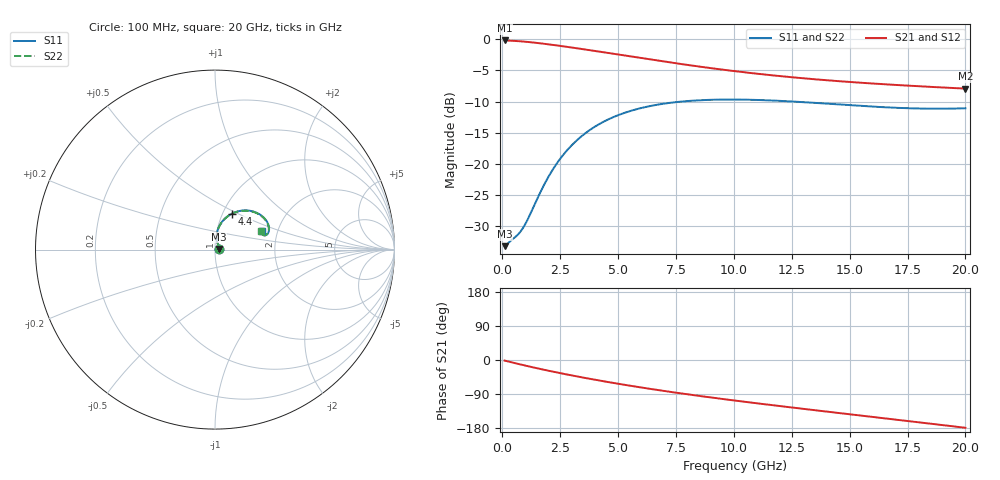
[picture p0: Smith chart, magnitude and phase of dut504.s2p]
! Touchstone file exported from HFSS 2024.1.0
!  File:  C:/UserFiles/LocalFiles/RDL_TSV_Batchsim/temp_RDL_TSV_504_1779738256.aedt
!  Generated:  03:56:29 AM May 26, 2026
!  Design:  RDL_TSV
!  Project:  temp_RDL_TSV_504_1779738256
!  Setup:  Setup1
!  Solution:  Sweep
! Variables:
!  dtsv = 11.21um
!  hbump = 3um
!  htsv = 50.08um
!  ldown = 275.63um
!  lrdl = 470.17um
!  p = 40
!  p1 = 44.86um
!  rhole = 10um
!  subl = 2707.57um
!  t = 450um
!  tdown = 2.17um
!  trdl = 3.04um
!  viad = 10um
!  wdown = 11.1um
!  wrdl = 22.68um
!  xbump = 18um
# GHz S MA R 50.000000
! Terminal data exported
! Port[1] = TM1_1_T1
! Port[2] = TM1_4_T1
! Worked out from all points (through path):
!   200 points, 100 MHz to 20 GHz, reference 50 ohm
!   highest |S21| = -0.19 dB at 100 MHz (marker M1); lowest = -7.9 dB at 20 GHz (marker M2)
!   group delay of S21, straight-line fit = 23.5 ps
!   lowest |S11| = -33.2 dB at 100 MHz (marker M3), VSWR 1.04, Z = 52.2 + j0.324 ohm
!   |S11| at or under -10 dB: start of sweep to 7.707 GHz; 12.63 GHz to end of sweep
!   |S22| runs from -33.2 to -9.7 dB; largest |S21 - S12| = 1.3e-14
!   S11 on the Smith chart (normalised r, x): 100 MHz: 1.04, +0.01; 4.4 GHz: 1.10, +0.46; 20 GHz: 1.65, +0.37
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0.1  0.02196 8.1  0.9779 -1.6  0.9779 -1.6  0.02196 8.1
! Gamma 0 0 0 0
! Port Impedance 50 0 50 0
0.7  0.02751 44.0  0.9653 -10.5  0.9653 -10.5  0.02752 43.9
0.9  0.03084 55.5  0.9589 -13.4  0.9589 -13.4  0.03085 55.4
1.1  0.03607 65.7  0.9515 -16.3  0.9515 -16.3  0.03606 65.5
1.8  0.06788 82.4  0.9203 -25.8  0.9203 -25.8  0.06777 82.2
2.2  0.09152 83.3  0.9002 -30.9  0.9002 -30.9  0.09132 83.1
2.6  0.1165 81.5  0.8795 -35.9  0.8795 -35.9  0.1162 81.4
3  0.1415 78.5  0.8584 -40.7  0.8584 -40.7  0.1411 78.4
3.5  0.1715 74.0  0.8321 -46.5  0.8321 -46.5  0.171 73.8
3.9  0.1939 70.1  0.8111 -51.0  0.8111 -51.0  0.1933 69.9
4.4  0.2195 65.2  0.7852 -56.4  0.7852 -56.4  0.2187 65.1
5.5  0.2651 55.1  0.7304 -67.7  0.7304 -67.7  0.2641 54.9
6.8  0.301 44.8  0.6709 -80.0  0.6709 -80.0  0.2997 44.6
7.6  0.3148 39.3  0.6378 -87.1  0.6378 -87.1  0.3133 39.1
8.4  0.3234 34.5  0.6077 -93.9  0.6077 -93.9  0.3218 34.3
10.1  0.3287 26.3  0.5534 -107.4  0.5534 -107.4  0.3267 26.2
11.7  0.3226 20.9  0.513 -119.5  0.513 -119.5  0.3205 20.7
13.4  0.31 17.3  0.4794 -131.8  0.4794 -131.8  0.3076 17.2
15  0.2963 15.9  0.4546 -143.2  0.4546 -143.2  0.2938 15.9
16.7  0.284 16.5  0.4335 -155.2  0.4335 -155.2  0.2814 16.5
18.3  0.2779 18.6  0.4171 -166.6  0.4171 -166.6  0.2754 18.7
20  0.2799 21.6  0.4022 -178.8  0.4022 -178.8  0.2774 21.7
